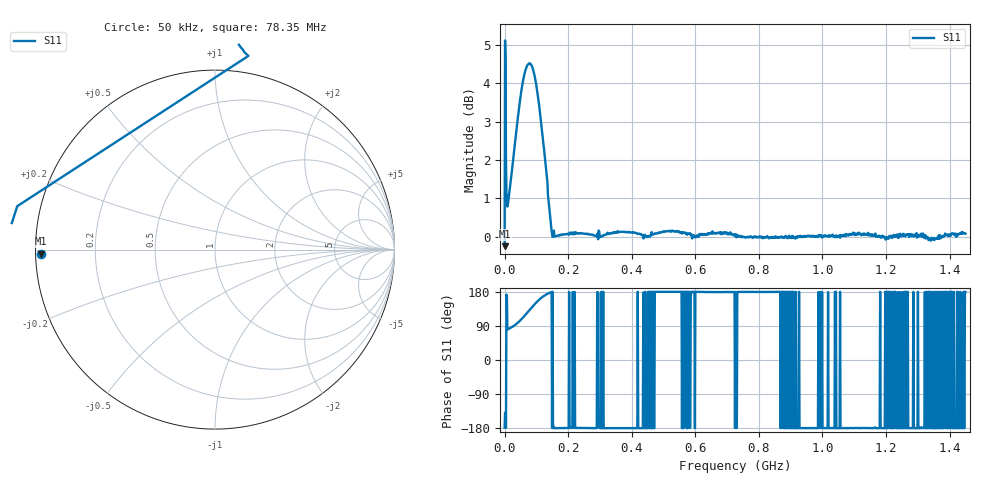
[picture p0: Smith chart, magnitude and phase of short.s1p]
! Created with skrf 1.11.0 (http://scikit-rf.org).
# Hz S RI R 50.0
!freq ReS11 ImS11
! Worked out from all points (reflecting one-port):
!   1001 points, 50 kHz to 1.45 GHz, reference 50 ohm
!   lowest |S11| = -0.2 dB at 50 kHz (marker M1), VSWR 71.40, Z = 0.7 - j0.601 ohm
!   phase of S11 starts at -179 deg and turns -2 deg over the sweep
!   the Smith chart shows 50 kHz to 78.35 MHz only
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50000  -0.9721 -0.0234
8749700  0.1861 1.079
1.019965e7  0.1751 1.089
1.16496e7  0.1637 1.1
1.599945e7  0.1331 1.141
2.61491e7  0.0369 1.25
3.629875e7  -0.1095 1.363
4.64484e7  -0.3126 1.451
5.51481e7  -0.5272 1.482
6.38478e7  -0.7612 1.451
7.399745e7  -1.021 1.332
8.7047e7  -1.278 1.067
9.28468e7  -1.347 0.9208
9.86466e7  -1.386 0.7721
1.073463e8  -1.393 0.5581
1.189459e8  -1.324 0.3222
1.276456e8  -1.244 0.1906
1.363453e8  -1.131 0.0976
1.43595e8  -1.059 0.039
1.522948e8  -1 -0.00131
1.812938e8  -1.008 -0.00834
3.625375e8  -1.015 -0.00398
5.437812e8  -1.016 0.00583
7.25025e8  -1.008 -0.00856
9.062688e8  -0.9991 0.00214
1.087512e9  -1.007 -0.00853
1.268756e9  -1.008 0.00297
1.45e9  -1.01 0.00634
